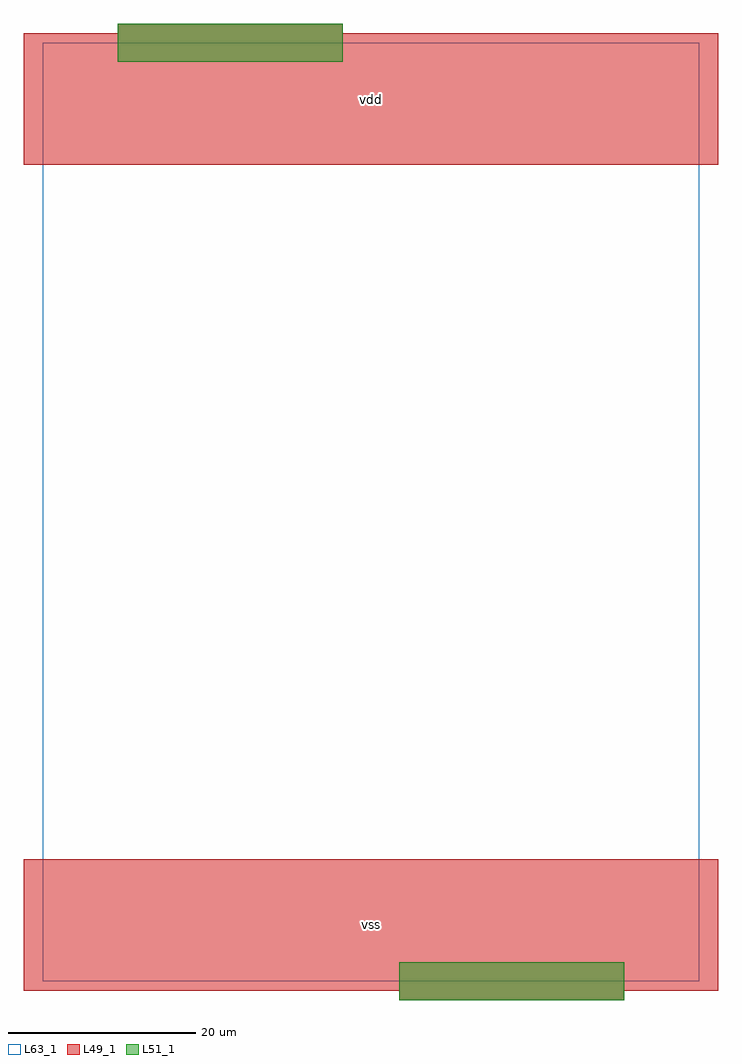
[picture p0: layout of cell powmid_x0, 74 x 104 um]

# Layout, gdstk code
import gdstk
lib = gdstk.Library(unit=1e-6, precision=1e-09)
def R(c, l, rs):  # rectangles x0, y0, x1, y1
    for r in rs: c.add(gdstk.rectangle(r[:2], r[2:], *l))
L49_1 = (49, 1)
L51_1 = (51, 1)
L63_1 = (63, 1)

powmid_x0 = lib.new_cell('powmid_x0')
R(powmid_x0, L49_1, [(38,-2,62,-1), (-2,-1,72,13), (-2,87,72,101), (8,101,32,102)])
R(powmid_x0, L51_1, [(38,-2,62,2), (8,98,32,102)])
R(powmid_x0, L63_1, [(0,0,70,100)])
powmid_x0.add(gdstk.Label('vss', (35,6), layer=49, texttype=1))
powmid_x0.add(gdstk.Label('vss', (35,6), layer=49, texttype=1))
powmid_x0.add(gdstk.Label('vdd', (35,94), layer=49, texttype=1))
powmid_x0.add(gdstk.Label('vdd', (35,94), layer=49, texttype=1))

lib.write_gds('powmid_x0.gds')
